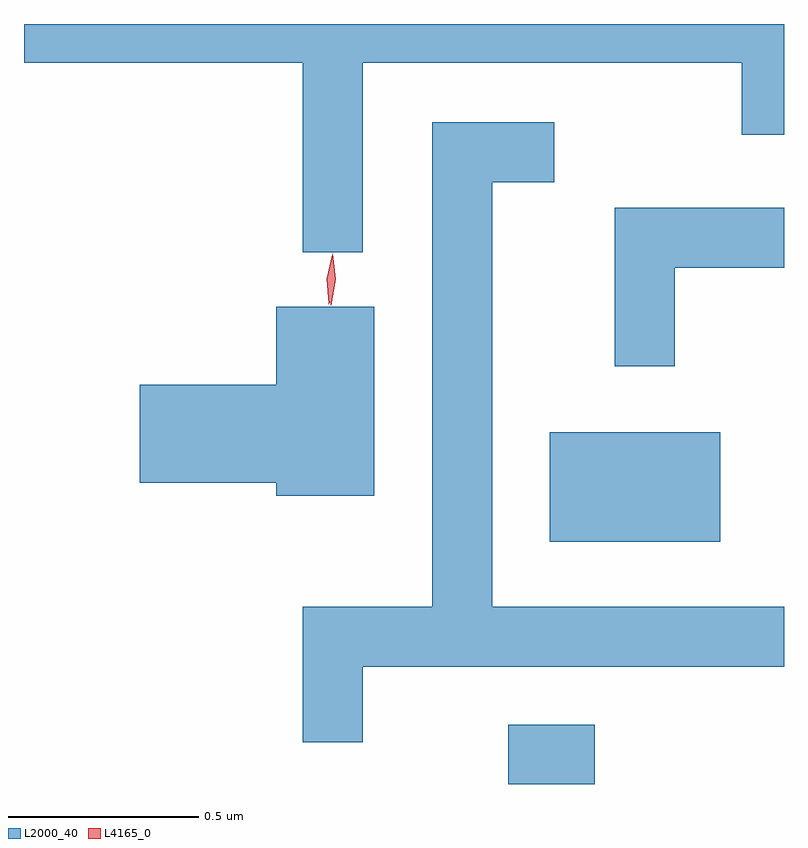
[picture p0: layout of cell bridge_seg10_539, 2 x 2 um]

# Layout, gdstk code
import gdstk
lib = gdstk.Library(unit=1e-6, precision=1e-09)
def R(c, l, rs):  # rectangles x0, y0, x1, y1
    for r in rs: c.add(gdstk.rectangle(r[:2], r[2:], *l))
def P(c, l, *ps):  # polygons
    for p in ps: c.add(gdstk.Polygon(p, *l))
L2000_40 = (2000, 40)
L4165_0 = (4165, 0)

bridge_seg10_539 = lib.new_cell('bridge_seg10_539')
R(bridge_seg10_539, L2000_40, [(931.106,2160.858,931.334,2161.014), (931.216,2161.496,931.664,2161.784)])
P(bridge_seg10_539, L2000_40, [(930.724,2162.756),(931.721,2162.756),(931.721,2162.566),(931.832,2162.566),(931.832,2162.858),(929.832,2162.858),(929.832,2162.756),(930.566,2162.756),(930.566,2162.258),(930.724,2162.258)],
  [(930.724,2161.166),(931.832,2161.166),(931.832,2161.324),(931.064,2161.324),(931.064,2162.441),(931.228,2162.441),(931.228,2162.599),(930.906,2162.599),(930.906,2161.324),(930.566,2161.324),(930.566,2160.968),(930.724,2160.968)],
  [(931.544,2162.216),(931.832,2162.216),(931.832,2162.374),(931.386,2162.374),(931.386,2161.958),(931.544,2161.958)],
  [(930.754,2162.114),(930.496,2162.114),(930.496,2161.909),(930.136,2161.909),(930.136,2161.651),(930.496,2161.651),(930.496,2161.616),(930.754,2161.616)])
P(bridge_seg10_539, L4165_0, [(930.639,2162.118),(930.639,2162.118),(930.632,2162.187),(930.644,2162.254),(930.645,2162.255),(930.645,2162.254),(930.652,2162.186),(930.64,2162.118)],
  [(930.634,2162.121),(930.634,2162.122),(930.629,2162.187),(930.643,2162.251),(930.644,2162.252),(930.644,2162.251),(930.649,2162.186),(930.635,2162.122)])

lib.write_gds('bridge_seg10_539.gds')
